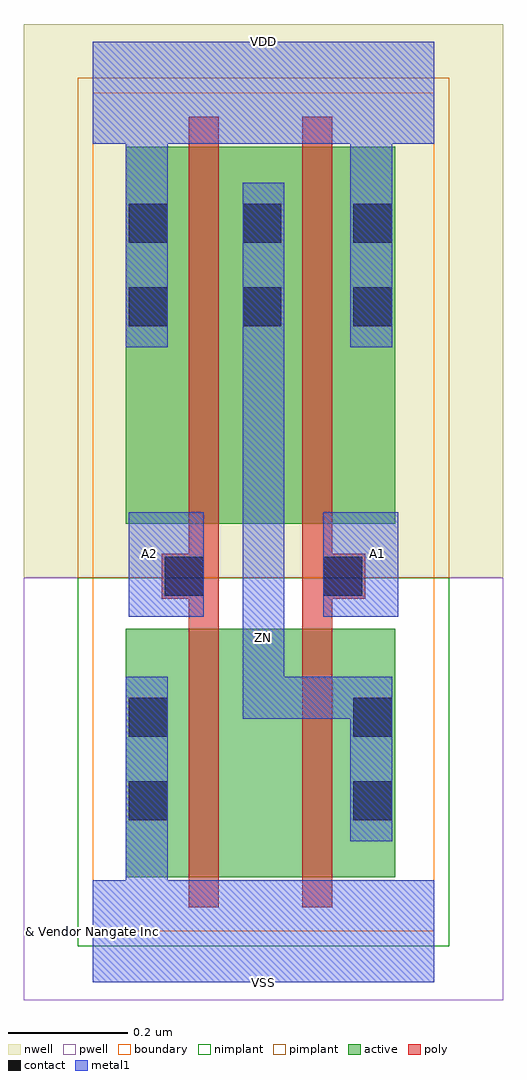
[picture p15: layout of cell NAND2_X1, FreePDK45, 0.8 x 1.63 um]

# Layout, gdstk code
import gdstk
lib = gdstk.Library(unit=1e-6, precision=1e-09)
def R(c, l, rs):  # rectangles x0, y0, x1, y1
    for r in rs: c.add(gdstk.rectangle(r[:2], r[2:], *l))
def P(c, l, *ps):  # polygons
    for p in ps: c.add(gdstk.Polygon(p, *l))
active = (1, 0)
pwell = (2, 0)
nwell = (3, 0)
nimplant = (4, 0)
pimplant = (5, 0)
poly = (9, 0)
contact = (10, 0)
metal1 = (11, 0)
boundary = (235, 0)

nand2_x1 = lib.new_cell('NAND2_X1')
R(nand2_x1, active, [(0.055,0.09,0.505,0.505), (0.055,0.68,0.505,1.31)])
R(nand2_x1, pwell, [(-0.115,-0.115,0.685,0.59)])
R(nand2_x1, nwell, [(-0.115,0.59,0.685,1.515)])
R(nand2_x1, nimplant, [(-0.025,-0.025,0.595,0.59)])
R(nand2_x1, pimplant, [(-0.025,0.59,0.595,1.425)])
P(nand2_x1, poly, [(0.115,0.555),(0.16,0.555),(0.16,0.04),(0.21,0.04),(0.21,1.36),(0.16,1.36),(0.16,0.63),(0.115,0.63)],
  [(0.35,0.04),(0.4,0.04),(0.4,0.555),(0.455,0.555),(0.455,0.63),(0.4,0.63),(0.4,1.36),(0.35,1.36)])
R(nand2_x1, contact, [(0.06,0.185,0.125,0.25), (0.435,0.185,0.5,0.25), (0.06,0.325,0.125,0.39), (0.435,0.325,0.5,0.39), (0.12,0.56,0.185,0.625), (0.385,0.56,0.45,0.625), (0.06,1.01,0.125,1.075), (0.25,1.01,0.315,1.075), (0.435,1.01,0.5,1.075), (0.06,1.15,0.125,1.215), (0.25,1.15,0.315,1.215), (0.435,1.15,0.5,1.215)])
R(nand2_x1, metal1, [(0.06,0.525,0.185,0.7), (0.385,0.525,0.51,0.7)])
P(nand2_x1, metal1, [(0.25,0.355),(0.43,0.355),(0.43,0.15),(0.5,0.15),(0.5,0.425),(0.32,0.425),(0.32,1.25),(0.25,1.25)],
  [(0,-0.085),(0.57,-0.085),(0.57,0.085),(0.125,0.085),(0.125,0.425),(0.055,0.425),(0.055,0.085),(0,0.085)],
  [(0,1.315),(0.055,1.315),(0.055,0.975),(0.125,0.975),(0.125,1.315),(0.43,1.315),(0.43,0.975),(0.5,0.975),(0.5,1.315),(0.57,1.315),(0.57,1.485),(0,1.485)])
R(nand2_x1, boundary, [(0,0,0.57,1.4)])
nand2_x1.add(gdstk.Label('A1', (0.475,0.63), layer=11, texttype=0))
nand2_x1.add(gdstk.Label('A2', (0.095,0.63), layer=11, texttype=0))
nand2_x1.add(gdstk.Label('VDD', (0.285,1.485), layer=11, texttype=0))
nand2_x1.add(gdstk.Label('VSS', (0.285,-0.085), layer=11, texttype=0))
nand2_x1.add(gdstk.Label('ZN', (0.285,0.49), layer=11, texttype=0))
nand2_x1.add(gdstk.Label('& Vendor Nangate Inc', (0,0), layer=63, texttype=63))
nand2_x1.add(gdstk.Label('& Product Open Cell Library', (0,0), layer=63, texttype=63))
nand2_x1.add(gdstk.Label('& Version 2010_12', (0,0), layer=63, texttype=63))
nand2_x1.add(gdstk.Label('& Instance NAND2_X1', (0,0), layer=63, texttype=63))

lib.write_gds('NAND2_X1.gds')
